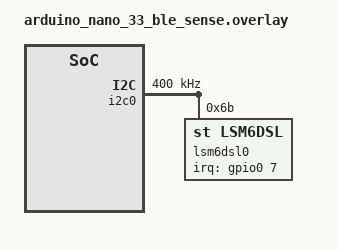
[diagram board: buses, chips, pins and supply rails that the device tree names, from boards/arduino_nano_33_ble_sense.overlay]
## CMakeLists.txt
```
cmake_minimum_required(VERSION 3.20.0)

set(BOARD arduino_nano_33_ble)
find_package(Zephyr REQUIRED HINTS $ENV{ZEPHYR_BASE})
project(paipesense_device)

target_sources(app PRIVATE src/main.c)
target_include_directories(app PRIVATE include)
```

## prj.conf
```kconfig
# Enable Zephyr features
CONFIG_SERIAL=y
CONFIG_SENSOR=y
CONFIG_I2C=y
CONFIG_GPIO=y

# Enable specific sensors
CONFIG_LSM6DSL=y
CONFIG_LSM6DSL_TRIGGER_GLOBAL_THREAD=y

# Enable WAMR
CONFIG_WAMR=y
CONFIG_WAMR_APP_FRAMEWORK=y
CONFIG_WAMR_APP_FRAMEWORK_SENSOR=y

# Memory configuration
CONFIG_HEAP_MEM_POOL_SIZE=16384
CONFIG_MAIN_STACK_SIZE=2048

# Networking (if needed)
CONFIG_NETWORKING=y
CONFIG_NET_IPV4=y
CONFIG_NET_TCP=y

# Logging
CONFIG_LOG=y
CONFIG_LOG_DEFAULT_LEVEL=3

# Console
CONFIG_CONSOLE=y
CONFIG_UART_CONSOLE=y
CONFIG_PRINTK=y
```

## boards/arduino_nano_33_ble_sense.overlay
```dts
/ {
    aliases {
        lsm6dsl0 = &lsm6dsl0;
    };
};

&i2c0 {
    status = "okay";
    clock-frequency = <I2C_BITRATE_FAST>;

    lsm6dsl0: lsm6dsl@6b {
        compatible = "st,lsm6dsl";
        reg = <0x6b>;
        irq-gpios = <&gpio0 7 GPIO_ACTIVE_HIGH>;
    };
};
```

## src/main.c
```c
#include <zephyr/kernel.h>
#include <zephyr/device.h>
#include <zephyr/drivers/sensor.h>
#include <zephyr/drivers/sensor/lsm6dsl.h>
#include "wasm_export.h"
#include "wasm_runtime.h"

#define WASM_STACK_SIZE 8192
#define WASM_HEAP_SIZE 8192
#define SENSOR_SAMPLE_INTERVAL_MS 1000

static char wasm_runtime_buffer[WASM_STACK_SIZE + WASM_HEAP_SIZE];
static const struct device *const sensor_dev = DEVICE_DT_GET_ONE(st_lsm6dsl);

// WASM module globals
static wasm_module_t wasm_module = NULL;
static wasm_module_inst_t wasm_module_inst = NULL;
static wasm_exec_env_t exec_env = NULL;

struct sensor_data {
    double temperature;
    double humidity;
    double pressure;
    double accel[3];
};

// Function type definitions for WASM exports
typedef void (*wasm_constructor_f)(wasm_exec_env_t exec_env, float temp, float humid, 
                                 float press, float accel_x, float accel_y, float accel_z);
typedef char* (*process_data_f)(wasm_exec_env_t exec_env, void* data);

static void read_sensor_data(struct sensor_data *data) {
    struct sensor_value temp, hum, press;
    struct sensor_value accel[3];

    if (!device_is_ready(sensor_dev)) {
        printk("Error: Device %s is not ready\n", sensor_dev->name);
        return;
    }

    // Read temperature
    sensor_sample_fetch_chan(sensor_dev, SENSOR_CHAN_AMBIENT_TEMP);
    sensor_channel_get(sensor_dev, SENSOR_CHAN_AMBIENT_TEMP, &temp);
    data->temperature = sensor_value_to_double(&temp);

    // Read humidity
    sensor_sample_fetch_chan(sensor_dev, SENSOR_CHAN_HUMIDITY);
    sensor_channel_get(sensor_dev, SENSOR_CHAN_HUMIDITY, &hum);
    data->humidity = sensor_value_to_double(&hum);

    // Read pressure
    sensor_sample_fetch_chan(sensor_dev, SENSOR_CHAN_PRESS);
    sensor_channel_get(sensor_dev, SENSOR_CHAN_PRESS, &press);
    data->pressure = sensor_value_to_double(&press);

    // Read accelerometer
    sensor_sample_fetch_chan(sensor_dev, SENSOR_CHAN_ACCEL_XYZ);
    sensor_channel_get(sensor_dev, SENSOR_CHAN_ACCEL_X, &accel[0]);
    sensor_channel_get(sensor_dev, SENSOR_CHAN_ACCEL_Y, &accel[1]);
    sensor_channel_get(sensor_dev, SENSOR_CHAN_ACCEL_Z, &accel[2]);
    
    for (int i = 0; i < 3; i++) {
        data->accel[i] = sensor_value_to_double(&accel[i]);
    }
}

static bool init_wasm_module(void) {
    // Initialize WAMR
    RuntimeInitArgs init_args;
    memset(&init_args, 0, sizeof(RuntimeInitArgs));
    init_args.mem_alloc_type = Alloc_With_Pool;
    init_args.mem_alloc_option.pool.heap_buf = wasm_runtime_buffer;
    init_args.mem_alloc_option.pool.heap_size = sizeof(wasm_runtime_buffer);

    if (!wasm_runtime_full_init(&init_args)) {
        printk("Error: failed to initialize WAMR runtime\n");
        return false;
    }

    // Load WASM module
    uint8_t *wasm_file_buf = NULL;
    uint32_t wasm_file_size;
    // TODO: Load WASM binary from file system
    
    // Instantiate module
    wasm_module = wasm_runtime_load(wasm_file_buf, wasm_file_size, NULL, 0);
    if (!wasm_module) {
        printk("Error: failed to load WASM module\n");
        return false;
    }

    wasm_module_inst = wasm_runtime_instantiate(wasm_module, WASM_STACK_SIZE, 
                                              WASM_HEAP_SIZE, NULL, 0);
    if (!wasm_module_inst) {
        printk("Error: failed to instantiate WASM module\n");
        return false;
    }

    exec_env = wasm_runtime_create_exec_env(wasm_module_inst, WASM_STACK_SIZE);
    if (!exec_env) {
        printk("Error: failed to create exec env\n");
        return false;
    }

    return true;
}

void main(void)
{
    // Initialize WASM runtime and module
    if (!init_wasm_module()) {
        return;
    }

    // Initialize sensor
    if (!device_is_ready(sensor_dev)) {
        printk("Error: Sensor device not ready\n");
        return;
    }

    struct sensor_data data;
    wasm_constructor_f constructor = wasm_runtime_lookup_function(wasm_module_inst, "SensorData.new", NULL);
    process_data_f process_data = wasm_runtime_lookup_function(wasm_module_inst, "process_sensor_data", NULL);

    if (!constructor || !process_data) {
        printk("Error: Failed to find WASM functions\n");
        return;
    }

    // Main loop
    while (1) {
        // Read sensor data
        read_sensor_data(&data);

        // Create SensorData object in WASM
        constructor(exec_env, (float)data.temperature, (float)data.humidity,
                   (float)data.pressure, (float)data.accel[0],
                   (float)data.accel[1], (float)data.accel[2]);

        // Process data
        char* result = process_data(exec_env, NULL);
        if (result) {
            printk("Processed data: %s\n", result);
            wasm_runtime_free(result);
        }

        printk("Temp: %.2f°C, Humidity: %.2f%%, Pressure: %.2fhPa\n",
               data.temperature, data.humidity, data.pressure);
        printk("Accel: X=%.2f, Y=%.2f, Z=%.2f\n",
               data.accel[0], data.accel[1], data.accel[2]);

        k_sleep(K_MSEC(SENSOR_SAMPLE_INTERVAL_MS));
    }

    // Cleanup
    wasm_runtime_destroy_exec_env(exec_env);
    wasm_runtime_deinstantiate(wasm_module_inst);
    wasm_runtime_unload(wasm_module);
    wasm_runtime_destroy();
}
```
